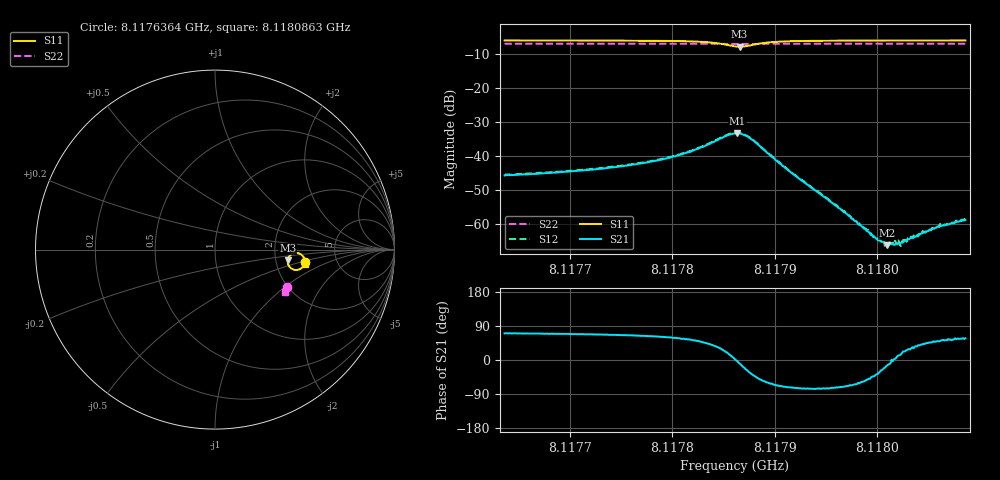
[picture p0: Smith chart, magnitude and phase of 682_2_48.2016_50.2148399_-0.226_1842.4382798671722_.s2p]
#  HZ  S  RI  R  50.00
! Rohde & Schwarz Vector Network Analyzer
! Rohde-Schwarz,ZNB20-2Port,1311601062101988,3.16
! Created: UTC 3/20/2024, 12:06:41 PM
! freq[Hz]  re:S11  im:S11  re:S21  im:S21  re:S12  im:S12  re:S22  im:S22
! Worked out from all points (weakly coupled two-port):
!   401 points, 8.1176364 GHz to 8.1180863 GHz, reference 50 ohm
!   highest |S21| = -33.27 dB at 8.1178636 GHz (marker M1); lowest = -66.4 dB at 8.1180098 GHz (marker M2)
!   lowest |S11| = -7.8 dB at 8.1178658 GHz (marker M3), VSWR 2.39, Z = 116 - j16.8 ohm
!   |S11| at or under -10 dB: nowhere
!   |S22| runs from -7.0 to -6.9 dB; largest |S21 - S12| = 0.00071
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8.11763643e9  0.5023 -0.0667  0.00174 0.00485  0.00181 0.00505  0.4011 -0.2103
8.11771178e9  0.4997 -0.0765  0.00227 0.00567  0.00236 0.00577  0.3987 -0.2152
8.11775226e9  0.4969 -0.0837  0.00293 0.00647  0.00301 0.00658  0.3973 -0.2179
8.11778712e9  0.4919 -0.0926  0.00413 0.00763  0.00428 0.00784  0.3958 -0.2202
8.11781861e9  0.4798 -0.105  0.00695 0.00936  0.00731 0.00951  0.3943 -0.2226
8.11784672e9  0.4407 -0.1122  0.0154 0.00932  0.0159 0.00938  0.3917 -0.224
8.11786134e9  0.4067 -0.0795  0.0215 0.000721  0.022 0.000702  0.39 -0.2231
8.11786359e9  0.405 -0.0699  0.0217 -0.00115  0.0219 -0.00156  0.3901 -0.2227
8.11786584e9  0.4051 -0.06  0.0211 -0.00347  0.0216 -0.00376  0.3902 -0.2224
8.11787146e9  0.4143 -0.0376  0.0184 -0.00803  0.0187 -0.00834  0.3906 -0.2218
8.11787821e9  0.4346 -0.0219  0.0135 -0.0107  0.0137 -0.0112  0.3915 -0.2217
8.11789958e9  0.4805 -0.0278  0.00386 -0.00847  0.00386 -0.00839  0.3928 -0.2237
8.11793669e9  0.4977 -0.0512  0.000811 -0.00325  0.00082 -0.00328  0.3923 -0.2274
8.11797043e9  0.5003 -0.0623  0.000501 -0.00131  0.000516 -0.00132  0.3911 -0.2297
8.11798954e9  0.5007 -0.0669  0.00048 -0.000626  0.000494 -0.000681  0.3905 -0.2311
8.11799854e9  0.5007 -0.0685  0.000474 -0.000392  0.000459 -0.000424  0.39 -0.2318
8.11800978e9  0.5008 -0.0706  0.000466 -0.00012  0.000506 -0.000121  0.3897 -0.2326
8.11801203e9  0.5007 -0.071  0.000477 -9.1e-05  0.000518 -0.000118  0.3897 -0.2327
8.11801991e9  0.5007 -0.0724  0.00051 9.12e-05  0.000493 5.25e-05  0.3894 -0.2331
8.11802103e9  0.5007 -0.0725  0.000494 0.000104  0.000555 0.000126  0.3892 -0.2331
8.11805926e9  0.5004 -0.078  0.000581 0.000691  0.000604 0.00069  0.3881 -0.2357
8.11808625e9  0.5001 -0.0813  0.000614 0.000952  0.000607 0.00102  0.3872 -0.2374
